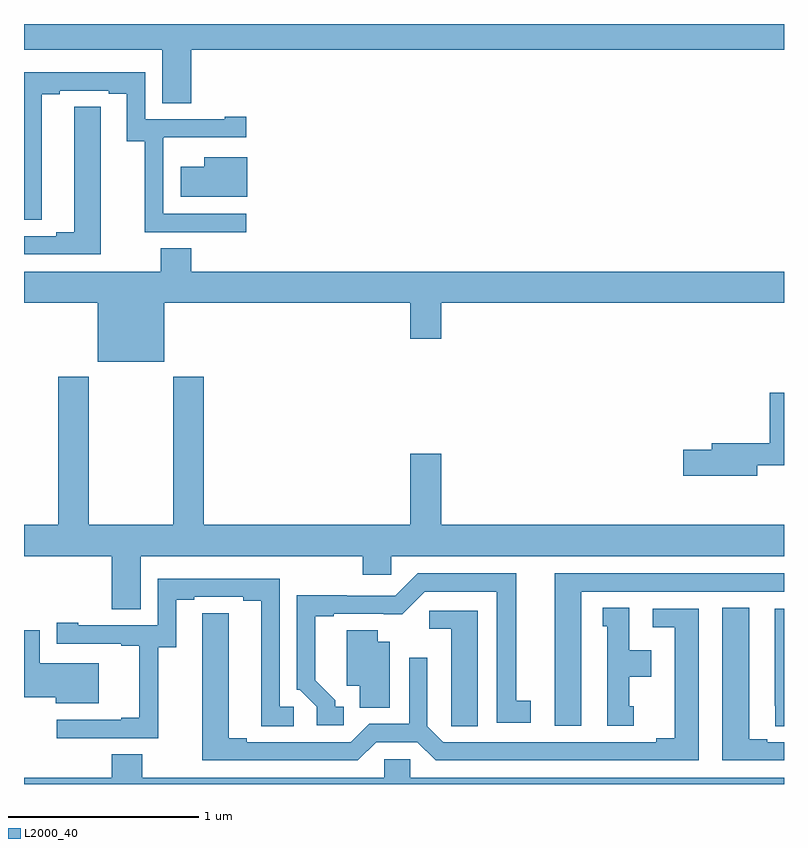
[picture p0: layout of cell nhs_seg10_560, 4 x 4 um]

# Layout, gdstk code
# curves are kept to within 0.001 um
import gdstk
lib = gdstk.Library(unit=1e-6, precision=1e-09)
def P(c, l, *ps):  # polygons
    for p in ps: c.add(gdstk.Polygon(p, *l))
L2000_40 = (2000, 40)

nhs_seg10_560 = lib.new_cell('nhs_seg10_560')
P(nhs_seg10_560, L2000_40, [(139.88,1252.364),(143,1252.364),(143,1252.5),(139,1252.5),(139,1252.364),(139.727,1252.364),(139.727,1252.084),(139.88,1252.084)],
  [(140.17,1251.501),(139.734,1251.501),(139.734,1251.902),(139.736,1251.902),(139.736,1251.903),(140.17,1251.903),(140.17,1252.012),(140.057,1252.012),(140.057,1251.999),(139.638,1251.999),(139.638,1252.245),(139,1252.245),(139,1251.469),(139.093,1251.469),(139.093,1252.129),(139.189,1252.129),(139.189,1252.149),(139.445,1252.149),(139.445,1252.134),(139.541,1252.134),(139.541,1251.883),(139.636,1251.883),(139.636,1251.405),(140.17,1251.405)],
  [(139.405,1251.956),(139.404,1251.956),(139.404,1252.064),(139.265,1252.064),(139.265,1251.404),(139.169,1251.404),(139.169,1251.384),(139,1251.384),(139,1251.288),(139.405,1251.288)],
  [(140.176,1251.799),(139.949,1251.799),(139.949,1251.748),(139.824,1251.748),(139.824,1251.59),(140.176,1251.59)],
  [(139.738,1251.032),(141.032,1251.032),(141.032,1250.844),(141.196,1250.844),(141.196,1251.032),(143,1251.032),(143,1251.196),(139.88,1251.196),(139.88,1251.32),(139.72,1251.32),(139.72,1251.196),(139,1251.196),(139,1251.032),(139.388,1251.032),(139.388,1250.723),(139.738,1250.723)],
  [(139.615,1249.7),(140.783,1249.7),(140.783,1249.602),(140.934,1249.602),(140.934,1249.7),(143,1249.7),(143,1249.864),(141.196,1249.864),(141.196,1250.239),(141.032,1250.239),(141.032,1249.864),(139.946,1249.864),(139.946,1250.644),(139.786,1250.644),(139.786,1249.864),(139.341,1249.864),(139.341,1250.644),(139.181,1250.644),(139.181,1249.864),(139,1249.864),(139,1249.7),(139.463,1249.7),(139.463,1249.42),(139.615,1249.42)],
  [(142.858,1250.178),(143,1250.178),(143,1250.56),(142.925,1250.56),(142.925,1250.294),(142.619,1250.294),(142.619,1250.258),(142.47,1250.258),(142.47,1250.123),(142.858,1250.123)],
  [(141.934,1249.512),(143,1249.512),(143,1249.608),(141.794,1249.608),(141.794,1248.807),(141.934,1248.807)],
  [(140.683,1248.906),(140.638,1248.906),(140.638,1248.941),(140.533,1249.046),(140.533,1249.383),(140.629,1249.383),(140.629,1249.395),(140.99,1249.394),(141.108,1249.512),(141.488,1249.512),(141.488,1248.822),(141.667,1248.822),(141.667,1248.938),(141.592,1248.938),(141.592,1249.608),(141.072,1249.608),(140.955,1249.491),(140.699,1249.491),(140.699,1249.493),(140.436,1249.493),(140.436,1248.996),(140.451,1248.996),(140.541,1248.906),(140.541,1248.81),(140.683,1248.81)],
  [(139.707,1249.219),(139.801,1249.219),(139.801,1249.47),(139.897,1249.47),(139.897,1249.485),(140.153,1249.485),(140.153,1249.465),(140.249,1249.465),(140.249,1248.805),(140.419,1248.805),(140.419,1248.906),(140.346,1248.906),(140.346,1249.581),(139.704,1249.581),(139.704,1249.335),(139.285,1249.335),(139.285,1249.348),(139.173,1249.348),(139.173,1249.239),(139.511,1249.239),(139.511,1249.227),(139.607,1249.227),(139.607,1248.85),(139.511,1248.85),(139.511,1248.837),(139.173,1248.837),(139.173,1248.741),(139.707,1248.741)],
  [(142.21,1248.909),(142.186,1248.909),(142.186,1249.064),(142.3,1249.064),(142.3,1249.204),(142.186,1249.204),(142.186,1249.427),(142.046,1249.427),(142.046,1249.329),(142.07,1249.329),(142.07,1248.807),(142.21,1248.807)],
  [(143,1248.72),(142.912,1248.72),(142.912,1248.735),(142.816,1248.735),(142.816,1249.427),(142.676,1249.427),(142.676,1248.624),(143,1248.624)],
  [(143,1249.423),(142.952,1249.423),(142.952,1248.913),(142.953,1248.913),(142.953,1248.805),(143,1248.805)],
  [(140.853,1248.72),(141.071,1248.72),(141.167,1248.624),(142.552,1248.624),(142.552,1249.422),(142.308,1249.422),(142.308,1249.326),(142.424,1249.326),(142.424,1248.74),(142.328,1248.74),(142.328,1248.72),(141.207,1248.72),(141.123,1248.804),(141.123,1249.165),(141.027,1249.165),(141.027,1248.816),(140.817,1248.816),(140.721,1248.72),(140.173,1248.72),(140.173,1248.74),(140.077,1248.74),(140.077,1249.4),(139.938,1249.4),(139.937,1248.624),(140.757,1248.624)],
  [(141.388,1249.413),(141.132,1249.413),(141.132,1249.316),(141.248,1249.316),(141.248,1248.913),(141.249,1248.913),(141.249,1248.805),(141.388,1248.805)],
  [(140.926,1249.249),(140.863,1249.249),(140.863,1249.31),(140.699,1249.31),(140.699,1249.016),(140.768,1249.016),(140.768,1248.901),(140.926,1248.901)],
  [(139.393,1249.135),(139.084,1249.135),(139.084,1249.309),(139,1249.309),(139,1248.956),(139.166,1248.956),(139.166,1248.926),(139.393,1248.926)],
  [(143,1248.532),(141.033,1248.532),(141.033,1248.63),(140.895,1248.63),(140.895,1248.532),(139.623,1248.532),(139.623,1248.656),(139.463,1248.656),(139.463,1248.532),(139,1248.532),(139,1248.5),(143,1248.5)])

lib.write_gds('nhs_seg10_560.gds')
